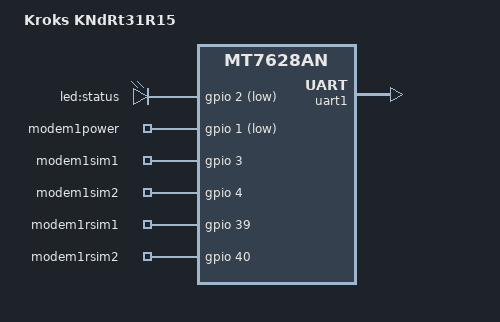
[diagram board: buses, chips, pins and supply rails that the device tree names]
#include "mt7628an_kroks_1eth.dtsi"

/ {
	compatible = "kroks,kndrt31r15", "mediatek,mt7628an-soc";
	model = "Kroks KNdRt31R15";

	aliases {
		led-boot = &led_status;
		led-failsafe = &led_status;
		led-running = &led_status;
		led-upgrade = &led_status;
		serial1 = &uart1;
	};

	leds {
		compatible = "gpio-leds";

		led_status: status {
			label = "led:status";
			gpios = <&gpio 2 GPIO_ACTIVE_LOW>;
		};
	};

	gpio_export {
		compatible = "gpio-export";
		#size-cells = <0>;

		modem1power {
			gpio-export,name = "modem1power";
			gpio-export,output = <0>;
			gpios = <&gpio 1 GPIO_ACTIVE_LOW>;
		};

		modem1sim1 {
			gpio-export,name = "modem1sim1";
			gpio-export,output = <0>;
			gpios = <&gpio 3 GPIO_ACTIVE_HIGH>;
		};

		modem1sim2 {
			gpio-export,name = "modem1sim2";
			gpio-export,output = <0>;
			gpios = <&gpio 4 GPIO_ACTIVE_HIGH>;
		};

		modem1rsim1 {
			gpio-export,name = "modem1rsim1";
			gpio-export,output = <1>;
			gpios = <&gpio 39 GPIO_ACTIVE_HIGH>;
		};

		modem1rsim2 {
			gpio-export,name = "modem1rsim2";
			gpio-export,output = <0>;
			gpios = <&gpio 40 GPIO_ACTIVE_HIGH>;
		};
	};
};

&uart1 {
	status = "okay";
};

&state_default {
	gpio {
		groups = "i2s", "i2c", "p4led_an", "p3led_an";
		function = "gpio";
	};
};

&wmac {
	status = "disabled";
};
